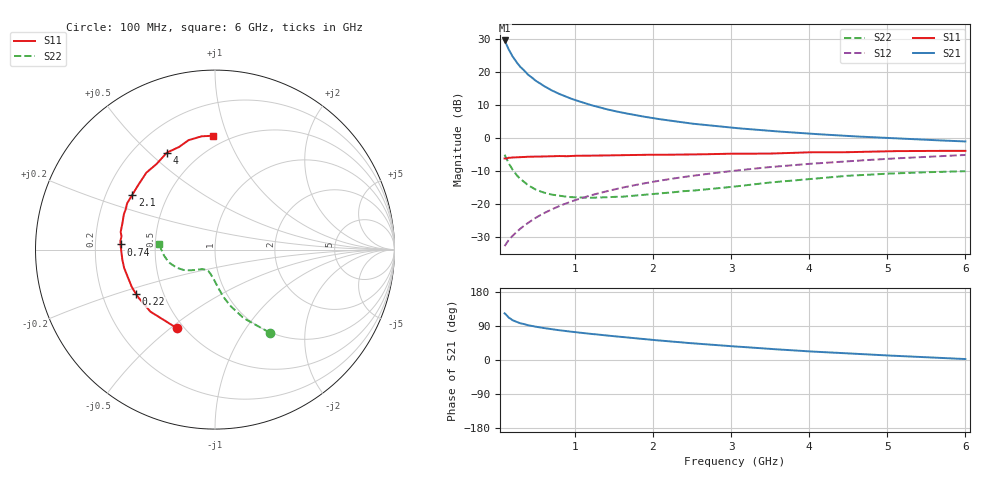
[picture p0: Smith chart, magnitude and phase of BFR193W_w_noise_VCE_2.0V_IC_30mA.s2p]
! Infineon Technologies  Discrete & RF Semiconductors
! BFR193W
! VCE =  2.0 V,  IC =  30 mA
! Common Emitter S-Parameters:  Nov 2015
# GHz  S  MA  R  50
!  f  S11  S21  S12  S22
! GHz  MAG  ANG  MAG  ANG  MAG  ANG  MAG  ANG
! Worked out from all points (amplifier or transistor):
!   192 points, 100 MHz to 6 GHz, reference 50 ohm
!   highest |S21| = 29.6 dB at 100 MHz (marker M1)
!   |S21| within 3 dB of that: start of sweep to 158.8 MHz
!   unconditionally stable (mu >= 1): 594.5 MHz to 2.534 GHz
!   at 440 MHz: K = 0.95, MSG = 21.8 dB, |S12| = -25.2 dB
!   at 1.7 GHz: K = 1.03, MAG = 9.9 dB, |S12| = -14.7 dB
!   at 6 GHz: K = 0.92, MSG = 2.0 dB, |S12| = -5.2 dB
!   lowest NFmin = 1.90 dB at 450 MHz
!   S11 on the Smith chart (normalised r, x): 100 MHz: 0.46, -0.53; 220 MHz: 0.35, -0.23; 740 MHz: 0.31, +0.02; 2.1 GHz: 0.31, +0.27; 4 GHz: 0.33, +0.57; 6 GHz: 0.42, +0.89
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0.1  0.4863 -115.9  30.03 123.1  0.0227 58.0  0.5544 -56.6
0.15  0.499 -136.1  22.12 112.1  0.0278 57.5  0.4141 -67.3
0.2  0.503 -147.4  17.34 105.2  0.0324 58.6  0.3309 -74.1
0.22  0.5041 -150.5  16.06 103.6  0.0342 59.5  0.308 -76.0
0.24  0.5066 -153.5  14.79 101.7  0.0361 60.2  0.2854 -78.1
0.26  0.5081 -156.1  13.72 100.0  0.0379 61.0  0.2672 -79.9
0.3  0.5086 -160.3  11.97 97.0  0.0417 62.6  0.2389 -82.5
0.4  0.5165 -168.7  9.088 91.7  0.0511 65.5  0.1908 -88.2
0.5  0.5193 -173.8  7.329 87.7  0.0613 67.6  0.1634 -92.6
0.6  0.5211 -178.2  6.144 84.4  0.0715 68.6  0.148 -97.1
0.74  0.5269 176.9  5.014 80.3  0.0858 69.6  0.1355 -101.4
0.9  0.5261 171.9  4.133 76.0  0.1025 69.9  0.1267 -105.9
1.1  0.5349 166.8  3.446 71.4  0.1231 69.6  0.124 -111.1
1.2  0.5362 164.2  3.151 69.0  0.1335 69.3  0.1231 -113.9
1.5  0.545 158.4  2.56 62.7  0.1639 68.0  0.1272 -120.3
2.08  0.5531 146.8  1.924 51.6  0.2232 64.2  0.1429 -129.0
2.1  0.5532 146.4  1.909 51.2  0.2252 64.0  0.1435 -129.2
3.1  0.5743 130.2  1.394 35.1  0.322 55.8  0.1854 -141.7
4  0.6032 116.4  1.158 22.7  0.4026 47.9  0.2369 -154.9
4.1  0.603 115.0  1.138 21.7  0.4101 47.0  0.2422 -157.0
5.1  0.6282 102.2  0.985 11.1  0.4871 38.2  0.2885 -174.7
6  0.6344 90.8  0.881 2.5  0.5497 30.4  0.3111 174.6
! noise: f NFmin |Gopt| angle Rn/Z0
0.45  1.9  0.4  180  0.09
0.9  1.95  0.43  -173  0.11
1.8  2.4  0.58  -144  0.24
